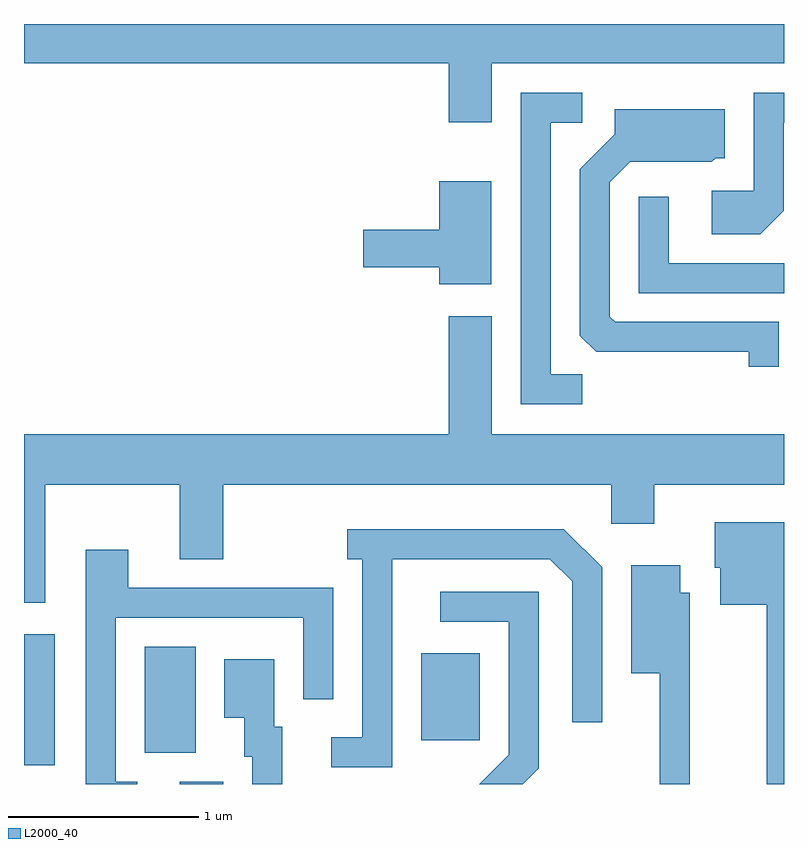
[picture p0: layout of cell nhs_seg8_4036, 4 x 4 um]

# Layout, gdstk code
import gdstk
lib = gdstk.Library(unit=1e-6, precision=1e-09)
def R(c, l, rs):  # rectangles x0, y0, x1, y1
    for r in rs: c.add(gdstk.rectangle(r[:2], r[2:], *l))
def P(c, l, *ps):  # polygons
    for p in ps: c.add(gdstk.Polygon(p, *l))
L2000_40 = (2000, 40)

nhs_seg8_4036 = lib.new_cell('nhs_seg8_4036')
R(nhs_seg8_4036, L2000_40, [(306.431,1890.342,306.659,1890.354), (305.611,1890.441,305.774,1891.129), (306.246,1890.506,306.514,1891.064), (307.701,1890.571,308.009,1891.029)])
P(nhs_seg8_4036, L2000_40, [(308.074,1894.136),(309.611,1894.136),(309.611,1894.342),(305.611,1894.342),(305.611,1894.136),(307.846,1894.136),(307.846,1893.826),(308.074,1893.826)],
  [(309.609,1893.359),(309.609,1893.821),(309.611,1893.821),(309.611,1893.979),(309.451,1893.979),(309.451,1893.464),(309.231,1893.464),(309.231,1893.236),(309.487,1893.236)],
  [(308.548,1892.499),(308.384,1892.499),(308.384,1893.821),(308.548,1893.821),(308.548,1893.979),(308.226,1893.979),(308.226,1892.341),(308.548,1892.341)],
  [(309.584,1892.774),(308.722,1892.774),(308.694,1892.802),(308.694,1893.509),(308.802,1893.616),(309.232,1893.616),(309.252,1893.636),(309.299,1893.636),(309.299,1893.894),(308.721,1893.894),(308.721,1893.762),(308.536,1893.577),(308.536,1892.702),(308.622,1892.616),(309.426,1892.616),(309.426,1892.538),(309.584,1892.538)],
  [(308.069,1893.514),(307.796,1893.514),(307.796,1893.259),(307.396,1893.259),(307.396,1893.061),(307.796,1893.061),(307.796,1892.971),(308.069,1892.971)],
  [(309.611,1893.084),(309.004,1893.084),(309.004,1893.433),(308.846,1893.433),(308.846,1892.926),(309.611,1892.926)],
  [(305.724,1891.916),(306.431,1891.916),(306.431,1891.526),(306.659,1891.526),(306.659,1891.916),(308.701,1891.916),(308.701,1891.711),(308.929,1891.711),(308.929,1891.916),(309.611,1891.916),(309.611,1892.184),(308.074,1892.184),(308.074,1892.804),(307.846,1892.804),(307.846,1892.184),(305.611,1892.184),(305.611,1891.296),(305.724,1891.296)],
  [(309.611,1891.719),(309.246,1891.719),(309.246,1891.481),(309.276,1891.481),(309.276,1891.286),(309.521,1891.286),(309.521,1890.342),(309.611,1890.342)],
  [(307.549,1891.526),(308.379,1891.526),(308.496,1891.409),(308.496,1890.668),(308.654,1890.668),(308.654,1891.482),(308.452,1891.684),(307.313,1891.684),(307.313,1891.526),(307.391,1891.526),(307.391,1890.589),(307.228,1890.589),(307.228,1890.431),(307.549,1890.431)],
  [(306.208,1890.354),(306.094,1890.354),(306.094,1891.216),(307.081,1891.216),(307.081,1890.788),(307.239,1890.788),(307.239,1891.374),(306.159,1891.374),(306.159,1891.574),(305.936,1891.574),(305.936,1890.342),(306.208,1890.342)],
  [(309.114,1891.349),(309.064,1891.349),(309.064,1891.494),(308.806,1891.494),(308.806,1890.926),(308.956,1890.926),(308.956,1890.342),(309.114,1890.342)],
  [(308.319,1890.424),(308.319,1891.354),(307.803,1891.354),(307.803,1891.196),(308.161,1891.196),(308.161,1890.497),(308.007,1890.342),(308.237,1890.342)],
  [(306.969,1890.644),(306.929,1890.644),(306.929,1890.999),(306.666,1890.999),(306.666,1890.691),(306.771,1890.691),(306.771,1890.486),(306.811,1890.486),(306.811,1890.342),(306.969,1890.342)])

lib.write_gds('nhs_seg8_4036.gds')
